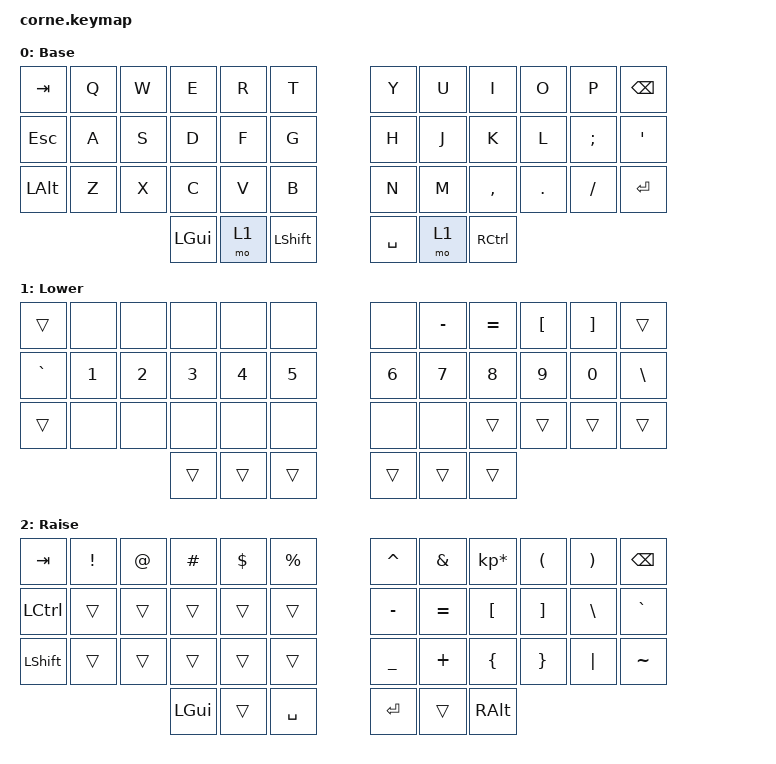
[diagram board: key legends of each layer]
/*
 * Copyright (c) 2020 The ZMK Contributors
 *
 * SPDX-License-Identifier: MIT
 */

#include <behaviors.dtsi>
#include <dt-bindings/zmk/keys.h>

/ {
    keymap {
        compatible = "zmk,keymap";

        default_layer {
            // -----------------------------------------------------------------------------------------
            // |  TAB |  Q  |  W  |  E  |  R  |  T  |   |  Y  |  U   |  I  |  O  |  P  | BKSP |
            // | CTRL |  A  |  S  |  D  |  F  |  G  |   |  H  |  J   |  K  |  L  |  ;  |  '   |
            // | SHFT |  Z  |  X  |  C  |  V  |  B  |   |  N  |  M   |  ,  |  .  |  /  | ESC  |
            //                    | GUI | LWR | SPC |   | ENT | RSE  | ALT |

            display-name = "Base";
            bindings = <
&kp TAB       &kp Q  &kp W  &kp E     &kp R  &kp T             &kp Y      &kp U  &kp I      &kp O    &kp P     &kp BSPC
&kp ESC       &kp A  &kp S  &kp D     &kp F  &kp G             &kp H      &kp J  &kp K      &kp L    &kp SEMI  &kp SQT
&kp LEFT_ALT  &kp Z  &kp X  &kp C     &kp V  &kp B             &kp N      &kp M  &kp COMMA  &kp DOT  &kp FSLH  &kp ENTER
                            &kp LGUI  &mo 1  &kp LEFT_SHIFT    &kp SPACE  &mo 1  &kp RCTRL
            >;
        };

        lower_layer {
            // -----------------------------------------------------------------------------------------
            // |  TAB |  1  |  2  |  3  |  4  |  5  |   |  6  |  7  |  8  |  9  |  0  | BKSP |
            // | BTCLR| BT1 | BT2 | BT3 | BT4 | BT5 |   | LFT | DWN |  UP | RGT |     |      |
            // | SHFT |     |     |     |     |     |   |     |     |     |     |     |      |
            //                    | GUI |     | SPC |   | ENT |     | ALT |

            display-name = "Lower";
            bindings = <
&trans     &none   &none   &none   &none   &none     &none   &kp MINUS  &kp EQUAL  &kp LBKT  &kp RBKT  &trans
&kp GRAVE  &kp N1  &kp N2  &kp N3  &kp N4  &kp N5    &kp N6  &kp N7     &kp N8     &kp N9    &kp N0    &kp BSLH
&trans     &none   &none   &none   &none   &none     &none   &none      &trans     &trans    &trans    &trans
                           &trans  &trans  &trans    &trans  &trans     &trans
            >;
        };

        raise_layer {
            // -----------------------------------------------------------------------------------------
            // |  TAB |  !  |  @  |  #  |  $  |  %  |   |  ^  |  &  |  *  |  (  |  )  | BKSP |
            // | CTRL |     |     |     |     |     |   |  -  |  =  |  [  |  ]  |  \  |  `   |
            // | SHFT |     |     |     |     |     |   |  _  |  +  |  {  |  }  | "|" |  ~   |
            //                    | GUI |     | SPC |   | ENT |     | ALT |

            display-name = "Raise";
            bindings = <
&kp TAB    &kp EXCL  &kp AT  &kp HASH  &kp DLLR  &kp PRCNT    &kp CARET  &kp AMPS   &kp KP_MULTIPLY  &kp LPAR  &kp RPAR  &kp BSPC
&kp LCTRL  &trans    &trans  &trans    &trans    &trans       &kp MINUS  &kp EQUAL  &kp LBKT         &kp RBKT  &kp BSLH  &kp GRAVE
&kp LSHFT  &trans    &trans  &trans    &trans    &trans       &kp UNDER  &kp PLUS   &kp LBRC         &kp RBRC  &kp PIPE  &kp TILDE
                             &kp LGUI  &trans    &kp SPACE    &kp RET    &trans     &kp RALT
            >;
        };
    };
};
